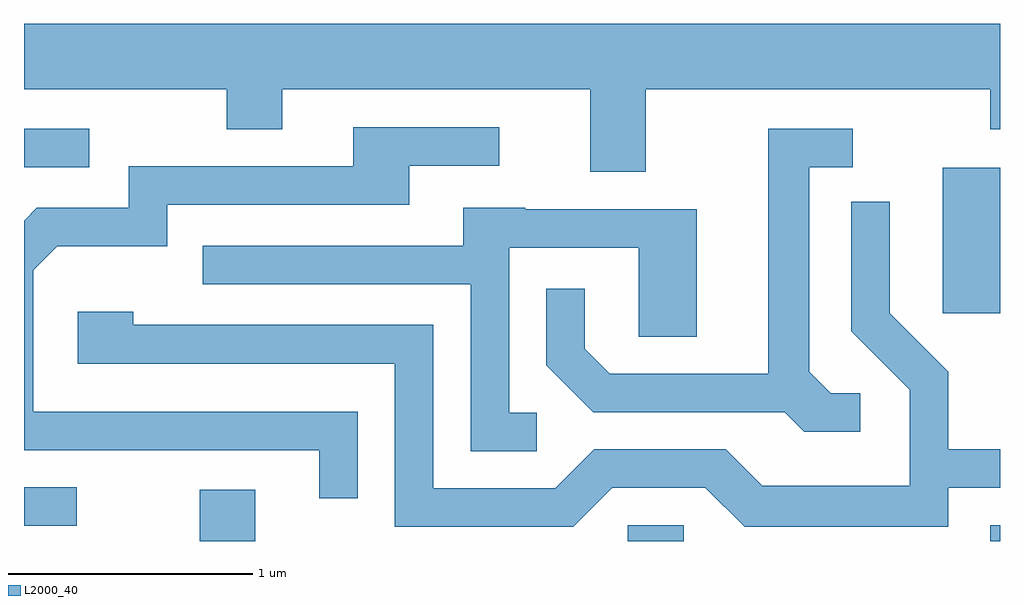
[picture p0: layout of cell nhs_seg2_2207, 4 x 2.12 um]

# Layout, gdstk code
import gdstk
lib = gdstk.Library(unit=1e-6, precision=1e-09)
def R(c, l, rs):  # rectangles x0, y0, x1, y1
    for r in rs: c.add(gdstk.rectangle(r[:2], r[2:], *l))
def P(c, l, *ps):  # polygons
    for p in ps: c.add(gdstk.Polygon(p, *l))
L2000_40 = (2000, 40)

nhs_seg2_2207 = lib.new_cell('nhs_seg2_2207')
R(nhs_seg2_2207, L2000_40, [(250.331,1039.802,250.559,1040.014), (252.086,1039.802,252.314,1039.869), (253.571,1039.802,253.611,1039.869), (249.611,1039.866,249.828,1040.024), (253.376,1040.736,253.611,1041.334), (249.611,1041.336,249.878,1041.494)])
P(nhs_seg2_2207, L2000_40, [(252.159,1041.656),(253.571,1041.656),(253.571,1041.491),(253.611,1041.491),(253.611,1041.924),(249.611,1041.924),(249.611,1041.656),(250.441,1041.656),(250.441,1041.491),(250.669,1041.491),(250.669,1041.656),(251.931,1041.656),(251.931,1041.316),(252.159,1041.316)],
  [(250.979,1040.334),(249.649,1040.334),(249.649,1040.914),(249.747,1041.011),(250.199,1041.011),(250.199,1041.181),(251.189,1041.181),(251.189,1041.341),(251.558,1041.341),(251.558,1041.499),(250.961,1041.499),(250.961,1041.339),(250.041,1041.339),(250.041,1041.169),(249.664,1041.169),(249.611,1041.116),(249.611,1040.176),(250.821,1040.176),(250.821,1039.978),(250.979,1039.978)],
  [(253.038,1040.409),(252.917,1040.409),(252.829,1040.497),(252.829,1041.336),(253.008,1041.336),(253.008,1041.494),(252.661,1041.494),(252.661,1040.489),(252.012,1040.489),(251.909,1040.592),(251.909,1040.838),(251.751,1040.838),(251.751,1040.524),(251.944,1040.331),(252.729,1040.331),(252.809,1040.251),(253.038,1040.251)],
  [(252.022,1040.021),(252.404,1040.021),(252.564,1039.861),(253.399,1039.861),(253.399,1040.021),(253.611,1040.021),(253.611,1040.179),(253.399,1040.179),(253.399,1040.497),(253.159,1040.737),(253.159,1041.193),(253.001,1041.193),(253.001,1040.664),(253.241,1040.424),(253.241,1040.029),(252.637,1040.029),(252.487,1040.179),(251.949,1040.179),(251.789,1040.019),(251.289,1040.019),(251.289,1040.689),(250.059,1040.689),(250.059,1040.744),(249.831,1040.744),(249.831,1040.531),(251.131,1040.531),(251.131,1039.861),(251.862,1039.861)],
  [(251.713,1040.329),(251.599,1040.329),(251.599,1041.006),(252.131,1041.006),(252.131,1040.641),(252.369,1040.641),(252.369,1041.164),(251.665,1041.164),(251.665,1041.169),(251.411,1041.169),(251.411,1041.014),(250.343,1041.014),(250.343,1040.856),(251.441,1040.856),(251.441,1040.171),(251.713,1040.171)])

lib.write_gds('nhs_seg2_2207.gds')
